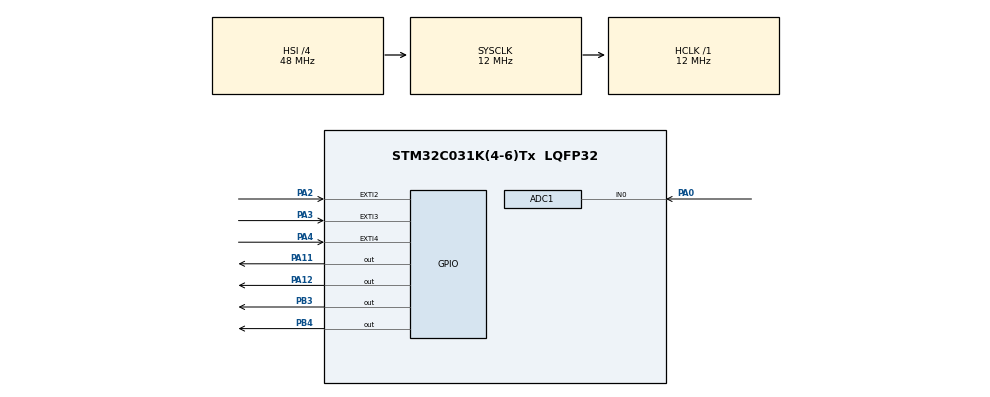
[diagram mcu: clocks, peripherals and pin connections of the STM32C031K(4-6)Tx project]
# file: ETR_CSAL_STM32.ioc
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ADC1.Channel-0\#ChannelRegularConversion=ADC_CHANNEL_0
ADC1.ClockPrescaler=ADC_CLOCK_SYNC_PCLK_DIV2
ADC1.ContinuousConvMode=ENABLE
ADC1.NbrOfConversionFlag=1
ADC1.Rank-0\#ChannelRegularConversion=1
ADC1.SamplingTime-0\#ChannelRegularConversion=ADC_SAMPLINGTIME_COMMON_1
ADC1.SamplingTimeCommon1=ADC_SAMPLETIME_160CYCLES_5
ADC1.SamplingTimeCommon2=ADC_SAMPLETIME_160CYCLES_5
ADC1.SelectedChannel=ADC_CHANNEL_0
ADC1.master=1
Mcu.Family=STM32C0
Mcu.Name=STM32C031K(4-6)Tx
Mcu.Package=LQFP32
NVIC.EXTI2_3_IRQn=true\:0\:0\:false\:false\:true\:true\:true\:true
NVIC.EXTI4_15_IRQn=true\:0\:0\:false\:false\:true\:true\:true\:true
NVIC.TIM3_IRQn=true\:0\:0\:false\:false\:true\:true\:true\:true
PA0.Mode=IN0
PA0.Signal=ADC1_IN0
PA11\ [PA9].Signal=GPIO_Output
PA12\ [PA10].Signal=GPIO_Output
PA13.Mode=Serial_Wire
PA13.Signal=DEBUG_SWDIO
PA14-BOOT0.Mode=Serial_Wire
PA14-BOOT0.Signal=DEBUG_SWCLK
PA2.GPIO_ModeDefaultEXTI=GPIO_MODE_IT_RISING
PA2.Signal=GPXTI2
PA3.GPIO_ModeDefaultEXTI=GPIO_MODE_IT_RISING
PA3.Signal=GPXTI3
PA4.GPIO_ModeDefaultEXTI=GPIO_MODE_IT_RISING
PA4.Signal=GPXTI4
PB3.Signal=GPIO_Output
PB4.Signal=GPIO_Output
ProjectManager.HeapSize=0x200
ProjectManager.StackSize=0x400
ProjectManager.TargetToolchain=STM32CubeIDE
RCC.ADCFreq_Value=12000000
RCC.AHBFreq_Value=12000000
RCC.APB1CLKDivider=RCC_APB1_DIV16
RCC.CortexFreq_Value=12000000
RCC.EXTERNAL_CLOCK_VALUE=12288000
RCC.HCLKFreq_Value=12000000
RCC.HSE_VALUE=8000000
RCC.HSI_VALUE=48000000
RCC.LSE_VALUE=32768
RCC.SYSCLKFreq_VALUE=12000000
TIM3.Period=10000-1
TIM3.Prescaler=80-1
VP_TIM3_VS_ClockSourceINT.Mode=Internal
board=custom

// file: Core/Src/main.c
/* USER CODE BEGIN Header */
/**
  ******************************************************************************
  * @file           : main.c
  * @brief          : Main program body
  ******************************************************************************
  * @attention
  *
  * Copyright (c) 2024 STMicroelectronics.
  * All rights reserved.
  *
  * This software is licensed under terms that can be found in the LICENSE file
  * in the root directory of this software component.
  * If no LICENSE file comes with this software, it is provided AS-IS.
  *
  ******************************************************************************
  */
/* USER CODE END Header */
#include "main.h"

ADC_HandleTypeDef hadc1;

TIM_HandleTypeDef htim3;

/* USER CODE BEGIN PV */
uint16_t adc_in=0;
uint16_t vector_temperatures[]={20,	50,	80,	110,	140,	170,	200,	230};
float vector_vin[]={1.4908,	2.3311,	2.8186,	3.0536,	3.1655,	3.2213,	3.2511,	3.2679};

/* USER CODE END PV */

void SystemClock_Config(void);
static void MX_GPIO_Init(void);
static void MX_TIM3_Init(void);
static void MX_ADC1_Init(void);

/* USER CODE BEGIN 0 */

float get_temperature(uint16_t lectura_adc){
	uint8_t i=0;
	float vin=3.3*(lectura_adc/4095);
	while(vector_vin[i]<=vin){
		i=i+1;
	}
	float temperatura=(vin-vector_vin[(i-1)]+((vector_vin[(i)]-vector_vin[(i-1)])/(vector_temperatures[i]-vector_temperatures[(i-1)]))*vector_temperatures[(i-1)])/((vector_vin[(i)]-vector_vin[(i-1)])/(vector_temperatures[i]-vector_temperatures[(i-1)]));
	return temperatura;
}

/* USER CODE END 0 */

int main(void)
{

  /* MCU Configuration--------------------------------------------------------*/

  /* Reset of all peripherals, Initializes the Flash interface and the Systick. */
  HAL_Init();

  /* Configure the system clock */
  SystemClock_Config();

  /* Initialize all configured peripherals */
  MX_GPIO_Init();
  MX_TIM3_Init();
  MX_ADC1_Init();
  /* USER CODE BEGIN 2 */
  HAL_TIM_Base_Start_IT(&htim3);
  HAL_ADC_Start(&hadc1);
  /* USER CODE END 2 */

  /* Infinite loop */
  while (1)
  {

    /* USER CODE BEGIN 3 */
	  HAL_GPIO_TogglePin(GPIOB, GPIO_PIN_3);
	  HAL_Delay(500);
  }
  /* USER CODE END 3 */
}

void SystemClock_Config(void)
{
  RCC_OscInitTypeDef RCC_OscInitStruct = {0};
  RCC_ClkInitTypeDef RCC_ClkInitStruct = {0};

  /** Initializes the RCC Oscillators according to the specified parameters
  * in the RCC_OscInitTypeDef structure.
  */
  RCC_OscInitStruct.OscillatorType = RCC_OSCILLATORTYPE_HSI;
  RCC_OscInitStruct.HSIState = RCC_HSI_ON;
  RCC_OscInitStruct.HSIDiv = RCC_HSI_DIV4;
  RCC_OscInitStruct.HSICalibrationValue = RCC_HSICALIBRATION_DEFAULT;
  if (HAL_RCC_OscConfig(&RCC_OscInitStruct) != HAL_OK)
  {
    Error_Handler();
  }

  /** Initializes the CPU, AHB and APB buses clocks
  */
  RCC_ClkInitStruct.ClockType = RCC_CLOCKTYPE_HCLK|RCC_CLOCKTYPE_SYSCLK
                              |RCC_CLOCKTYPE_PCLK1;
  RCC_ClkInitStruct.SYSCLKSource = RCC_SYSCLKSOURCE_HSI;
  RCC_ClkInitStruct.SYSCLKDivider = RCC_SYSCLK_DIV1;
  RCC_ClkInitStruct.AHBCLKDivider = RCC_HCLK_DIV1;
  RCC_ClkInitStruct.APB1CLKDivider = RCC_APB1_DIV16;

  if (HAL_RCC_ClockConfig(&RCC_ClkInitStruct, FLASH_LATENCY_0) != HAL_OK)
  {
    Error_Handler();
  }
}

static void MX_ADC1_Init(void)
{

  ADC_ChannelConfTypeDef sConfig = {0};

  /** Configure the global features of the ADC (Clock, Resolution, Data Alignment and number of conversion)
  */
  hadc1.Instance = ADC1;
  hadc1.Init.ClockPrescaler = ADC_CLOCK_SYNC_PCLK_DIV2;
  hadc1.Init.Resolution = ADC_RESOLUTION_12B;
  hadc1.Init.DataAlign = ADC_DATAALIGN_RIGHT;
  hadc1.Init.ScanConvMode = ADC_SCAN_DISABLE;
  hadc1.Init.EOCSelection = ADC_EOC_SINGLE_CONV;
  hadc1.Init.LowPowerAutoWait = DISABLE;
  hadc1.Init.LowPowerAutoPowerOff = DISABLE;
  hadc1.Init.ContinuousConvMode = ENABLE;
  hadc1.Init.NbrOfConversion = 1;
  hadc1.Init.ExternalTrigConv = ADC_SOFTWARE_START;
  hadc1.Init.ExternalTrigConvEdge = ADC_EXTERNALTRIGCONVEDGE_NONE;
  hadc1.Init.DMAContinuousRequests = DISABLE;
  hadc1.Init.Overrun = ADC_OVR_DATA_PRESERVED;
  hadc1.Init.SamplingTimeCommon1 = ADC_SAMPLETIME_160CYCLES_5;
  hadc1.Init.SamplingTimeCommon2 = ADC_SAMPLETIME_160CYCLES_5;
  hadc1.Init.OversamplingMode = DISABLE;
  hadc1.Init.TriggerFrequencyMode = ADC_TRIGGER_FREQ_HIGH;
  if (HAL_ADC_Init(&hadc1) != HAL_OK)
  {
    Error_Handler();
  }

  /** Configure Regular Channel
  */
  sConfig.Channel = ADC_CHANNEL_0;
  sConfig.Rank = ADC_REGULAR_RANK_1;
  sConfig.SamplingTime = ADC_SAMPLINGTIME_COMMON_1;
  if (HAL_ADC_ConfigChannel(&hadc1, &sConfig) != HAL_OK)
  {
    Error_Handler();
  }

}

static void MX_TIM3_Init(void)
{

  TIM_ClockConfigTypeDef sClockSourceConfig = {0};
  TIM_MasterConfigTypeDef sMasterConfig = {0};

  htim3.Instance = TIM3;
  htim3.Init.Prescaler = 80-1;
  htim3.Init.CounterMode = TIM_COUNTERMODE_UP;
  htim3.Init.Period = 10000-1;
  htim3.Init.ClockDivision = TIM_CLOCKDIVISION_DIV1;
  htim3.Init.AutoReloadPreload = TIM_AUTORELOAD_PRELOAD_DISABLE;
  if (HAL_TIM_Base_Init(&htim3) != HAL_OK)
  {
    Error_Handler();
  }
  sClockSourceConfig.ClockSource = TIM_CLOCKSOURCE_INTERNAL;
  if (HAL_TIM_ConfigClockSource(&htim3, &sClockSourceConfig) != HAL_OK)
  {
    Error_Handler();
  }
  sMasterConfig.MasterOutputTrigger = TIM_TRGO_RESET;
  sMasterConfig.MasterSlaveMode = TIM_MASTERSLAVEMODE_DISABLE;
  if (HAL_TIMEx_MasterConfigSynchronization(&htim3, &sMasterConfig) != HAL_OK)
  {
    Error_Handler();
  }

}

static void MX_GPIO_Init(void)
{
  GPIO_InitTypeDef GPIO_InitStruct = {0};

  /* GPIO Ports Clock Enable */
  __HAL_RCC_GPIOA_CLK_ENABLE();
  __HAL_RCC_GPIOB_CLK_ENABLE();

  /*Configure GPIO pin Output Level */
  HAL_GPIO_WritePin(GPIOA, GPIO_PIN_11|GPIO_PIN_12, GPIO_PIN_RESET);

  /*Configure GPIO pin Output Level */
  HAL_GPIO_WritePin(GPIOB, GPIO_PIN_3|GPIO_PIN_4, GPIO_PIN_RESET);

  /*Configure GPIO pins : PA2 PA3 PA4 */
  GPIO_InitStruct.Pin = GPIO_PIN_2|GPIO_PIN_3|GPIO_PIN_4;
  GPIO_InitStruct.Mode = GPIO_MODE_IT_RISING;
  GPIO_InitStruct.Pull = GPIO_NOPULL;
  HAL_GPIO_Init(GPIOA, &GPIO_InitStruct);

  /*Configure GPIO pins : PA11 PA12 */
  GPIO_InitStruct.Pin = GPIO_PIN_11|GPIO_PIN_12;
  GPIO_InitStruct.Mode = GPIO_MODE_OUTPUT_PP;
  GPIO_InitStruct.Pull = GPIO_NOPULL;
  GPIO_InitStruct.Speed = GPIO_SPEED_FREQ_LOW;
  HAL_GPIO_Init(GPIOA, &GPIO_InitStruct);

  /*Configure GPIO pins : PB3 PB4 */
  GPIO_InitStruct.Pin = GPIO_PIN_3|GPIO_PIN_4;
  GPIO_InitStruct.Mode = GPIO_MODE_OUTPUT_PP;
  GPIO_InitStruct.Pull = GPIO_NOPULL;
  GPIO_InitStruct.Speed = GPIO_SPEED_FREQ_LOW;
  HAL_GPIO_Init(GPIOB, &GPIO_InitStruct);

  /* EXTI interrupt init*/
  HAL_NVIC_SetPriority(EXTI2_3_IRQn, 0, 0);
  HAL_NVIC_EnableIRQ(EXTI2_3_IRQn);

  HAL_NVIC_SetPriority(EXTI4_15_IRQn, 0, 0);
  HAL_NVIC_EnableIRQ(EXTI4_15_IRQn);

}

/* USER CODE BEGIN 4 */
// Callback: timer has rolled over
void HAL_TIM_PeriodElapsedCallback(TIM_HandleTypeDef *htim)
{
  // Check which version of the timer triggered this callback and toggle LED
  if (htim == &htim3 )
  {
    HAL_GPIO_TogglePin(GPIOB, GPIO_PIN_4);
    //llegir ADC
    if (HAL_ADC_PollForConversion(&hadc1, 10) == HAL_OK) {
        uint16_t adc_in = HAL_ADC_GetValue(&hadc1);
      }
    float temperatura=get_temperature(adc_in);
    //float temperatura=get_temperature(adc_in);
    //obtenir valor temperatura

    //funció regulador de temperatura
  }
}
void HAL_GPIO_EXTI_Callback(uint16_t GPIO_Pin)
{
  if(GPIO_Pin == GPIO_PIN_2) { //interrupció SW1

  }
  else if(GPIO_Pin == GPIO_PIN_3){ //interrupció SW2

  }
  else if(GPIO_Pin == GPIO_PIN_4){ //interrupció SW3

  }
}

/* USER CODE END 4 */

void Error_Handler(void)
{
  __disable_irq();
  while (1)
  {
  }
}
